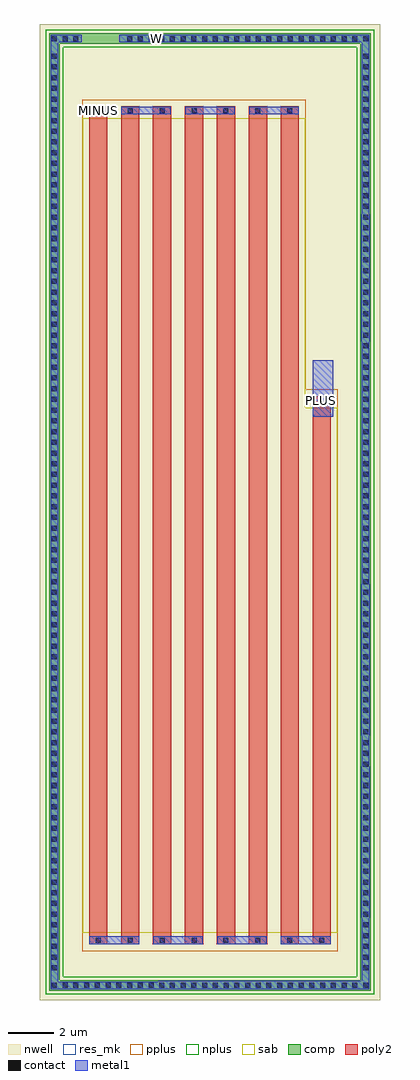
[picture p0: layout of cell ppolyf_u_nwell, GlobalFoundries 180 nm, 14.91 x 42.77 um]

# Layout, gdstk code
import gdstk
lib = gdstk.Library(unit=1e-6, precision=1e-09)
def R(c, l, rs):  # rectangles x0, y0, x1, y1
    for r in rs: c.add(gdstk.rectangle(r[:2], r[2:], *l))
def A(c, l, x, y, w, h, nx, ny, dx, dy):  # array of equal rectangles
    R(c, l, [(x+i*dx, y+j*dy, x+i*dx+w, y+j*dy+h) for i in range(nx) for j in range(ny)])
nwell = (21, 0)
comp = (22, 0)
poly2 = (30, 0)
pplus = (31, 0)
nplus = (32, 0)
contact = (33, 0)
metal1 = (34, 0)
sab = (49, 0)
res_mk = (110, 5)

ppolyf_u_nwell = lib.new_cell('ppolyf_u_nwell')
R(ppolyf_u_nwell, nwell, [(3.8,266.56,18.71,267.84), (3.8,266.56,18.71,309.33), (3.8,267.33,5.08,308.56), (17.43,267.33,18.71,308.56), (3.8,308.05,17.09,309.33)])
R(ppolyf_u_nwell, comp, [(4.215,266.975,18.295,267.425), (4.215,267.425,4.665,267.745), (17.845,267.425,18.295,267.745), (4.215,267.745,4.665,308.145), (17.845,267.745,18.295,308.145), (4.215,308.145,4.665,308.465), (17.845,308.145,18.295,308.465), (4.215,308.465,18.295,308.915)])
A(ppolyf_u_nwell, poly2, 5.955, 268.995, 0.8, 36.72, 7, 1, 1.4, 0)
R(ppolyf_u_nwell, poly2, [(15.755,268.995,16.555,293.015)])
A(ppolyf_u_nwell, pplus, 5.655, 268.695, 1.4, 37.32, 7, 1, 1.4, 0)
R(ppolyf_u_nwell, pplus, [(15.455,268.695,16.855,293.315)])
R(ppolyf_u_nwell, nplus, [(4.055,266.815,18.455,267.585), (4.055,267.585,4.825,308.305), (17.685,267.585,18.455,308.305), (4.055,308.305,18.455,309.075)])
A(ppolyf_u_nwell, contact, 4.33, 267.09, 0.22, 0.22, 30, 1, 0.47, 0)
A(ppolyf_u_nwell, contact, 4.33, 267.86, 0.22, 0.22, 1, 86, 0, 0.47)
A(ppolyf_u_nwell, contact, 17.96, 267.86, 0.22, 0.22, 1, 86, 0, 0.47)
A(ppolyf_u_nwell, contact, 6.245, 269.065, 0.22, 0.22, 8, 1, 1.4, 0)
A(ppolyf_u_nwell, contact, 6.245, 305.425, 0.22, 0.22, 7, 1, 1.4, 0)
A(ppolyf_u_nwell, contact, 4.33, 308.58, 0.22, 0.22, 3, 1, 0.47, 0)
A(ppolyf_u_nwell, contact, 7.62, 308.58, 0.22, 0.22, 23, 1, 0.47, 0)
R(ppolyf_u_nwell, contact, [(16.045,292.725,16.265,292.945)])
A(ppolyf_u_nwell, metal1, 5.965, 269.005, 2.18, 0.34, 4, 1, 2.8, 0)
A(ppolyf_u_nwell, metal1, 7.365, 305.365, 2.18, 0.34, 3, 1, 2.8, 0)
R(ppolyf_u_nwell, metal1, [(4.27,267.03,18.24,267.37), (9.02,267.03,18.24,267.41), (4.27,267.37,4.61,267.8), (17.9,267.37,18.24,267.8), (4.27,267.8,4.61,308.09), (17.9,267.8,18.24,308.09), (5.965,269.005,6.745,269.345), (5.965,269.005,6.745,269.345), (7.365,269.005,8.145,269.345), (7.365,269.005,8.145,269.345), (8.765,269.005,9.545,269.345), (8.765,269.005,9.545,269.345), (10.165,269.005,10.945,269.345), (10.165,269.005,10.945,269.345), (11.565,269.005,12.345,269.345), (11.565,269.005,12.345,269.345), (12.965,269.005,13.745,269.345), (12.965,269.005,13.745,269.345), (14.365,269.005,15.145,269.345), (14.365,269.005,15.145,269.345), (15.765,269.005,16.545,269.345), (15.765,269.005,16.545,269.345), (17.88,270.155,18.26,276.775), (17.88,278.155,18.26,284.775), (15.765,292.12,16.665,294.58), (15.765,292.665,16.545,293.005), (15.765,292.665,16.545,293.005), (15.765,292.665,16.665,294.6), (17.88,295.42,18.26,301), (5.965,305.365,6.745,305.705), (5.965,305.365,6.745,305.705), (7.365,305.365,8.145,305.705), (7.365,305.365,8.145,305.705), (8.765,305.365,9.545,305.705), (8.765,305.365,9.545,305.705), (10.165,305.365,10.945,305.705), (10.165,305.365,10.945,305.705), (11.565,305.365,12.345,305.705), (11.565,305.365,12.345,305.705), (12.965,305.365,13.745,305.705), (12.965,305.365,13.745,305.705), (14.365,305.365,15.145,305.705), (14.365,305.365,15.145,305.705), (4.27,308.09,4.61,308.52), (17.9,308.09,18.24,308.52), (4.27,308.52,5.63,308.86), (7.285,308.52,18.24,308.86)])
A(ppolyf_u_nwell, sab, 5.675, 269.505, 1.36, 35.7, 7, 1, 1.4, 0)
R(ppolyf_u_nwell, sab, [(5.675,269.505,15.435,305.205), (15.435,269.505,16.835,292.505), (15.475,269.505,16.835,292.505)])
A(ppolyf_u_nwell, res_mk, 5.955, 269.505, 0.8, 35.7, 7, 1, 1.4, 0)
R(ppolyf_u_nwell, res_mk, [(15.755,269.505,16.555,292.505)])
ppolyf_u_nwell.add(gdstk.Label('MINUS', (6.355,305.535), layer=34, texttype=10))
ppolyf_u_nwell.add(gdstk.Label('PLUS', (16.155,292.835), layer=34, texttype=10))
ppolyf_u_nwell.add(gdstk.Label('W', (8.905,308.71), layer=34, texttype=10))

lib.write_gds('ppolyf_u_nwell.gds')
